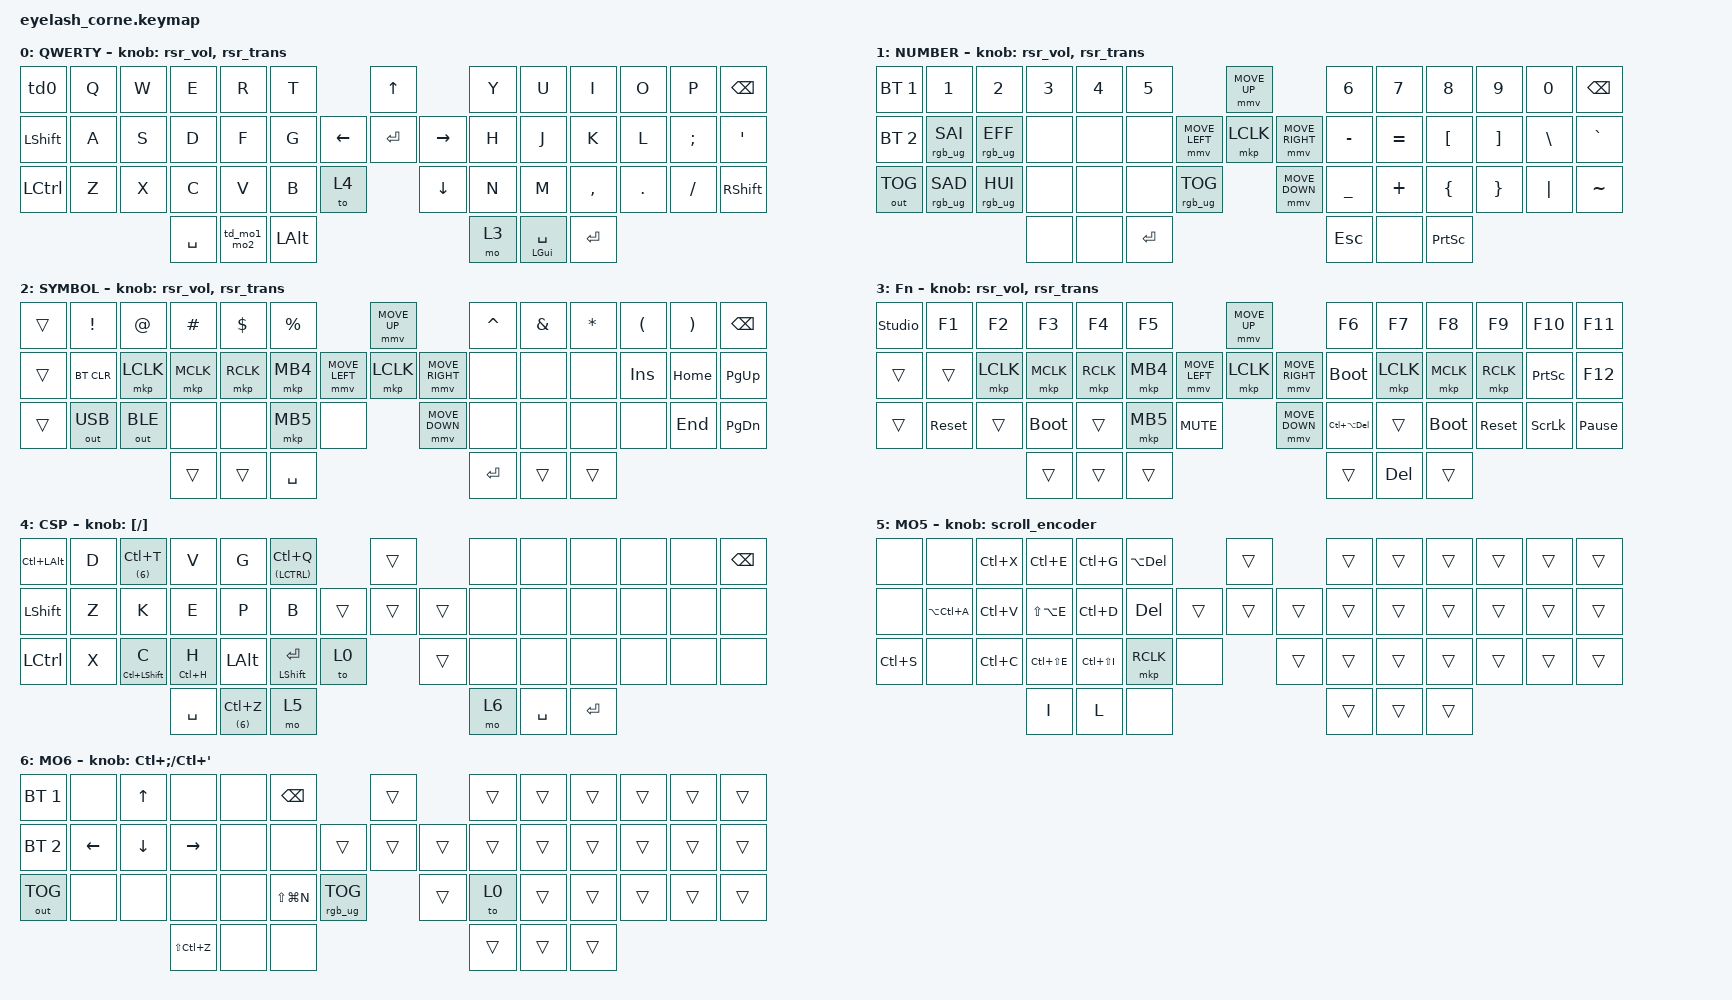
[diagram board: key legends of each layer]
#define ZMK_POINTING_DEFAULT_MOVE_VAL 1200  // 600
#define ZMK_POINTING_DEFAULT_SCRL_VAL 25   // 10

#include <input/processors.dtsi>
#include <zephyr/dt-bindings/input/input-event-codes.h>
#include <behaviors/runtime-sensor-rotate.dtsi>
#include <behaviors.dtsi>
#include <dt-bindings/zmk/bt.h>
#include <dt-bindings/zmk/keys.h>
#include <dt-bindings/zmk/outputs.h>
#include <dt-bindings/zmk/pointing.h>
#include <dt-bindings/zmk/rgb.h>

&mmv_input_listener { input-processors = <&zip_xy_scaler 2 1>; };

&msc_input_listener { input-processors = <&zip_scroll_scaler 2 1>; };

&msc {
    acceleration-exponent = <1>;      // 0
    time-to-max-speed-ms = <100>;       // 300
    delay-ms = <0>;                   // 0
};

&mmv {
    time-to-max-speed-ms = <500>;
    acceleration-exponent = <1>;
    trigger-period-ms = <16>;
};

&soft_off { hold-time-ms = <2000>; };

/ {
    behaviors {
        td0: td0 {
            compatible = "zmk,behavior-tap-dance";
            display-name = "Shift/Caps Lock Tap Dance";
            #binding-cells = <0>;
            bindings = <&kp TAB>, <&kp CAPS>;

            tapping-term-ms = <240>;
        };

        rsr_trans: rsr_trans {
            compatible = "zmk,behavior-runtime-sensor-rotate";
            #sensor-binding-cells = <0>;
            tap-ms = <0>;
        };

        rsr_vol: rsr_vol {
            compatible = "zmk,behavior-runtime-sensor-rotate";
            #sensor-binding-cells = <0>;
            tap-ms = <5>;
            cw-binding = <&kp C_VOL_UP>;
            ccw-binding = <&kp C_VOL_DN>;
        };

        myholdtime: myholdtime {
            compatible = "zmk,behavior-hold-tap";
            label = "MYHOLDTIME";
            bindings = <&kp>, <&kp>;

            #binding-cells = <2>;
            tapping-term-ms = <150>;
        };

        td_semicolon: td_semicolon {
            compatible = "zmk,behavior-tap-dance";
            label = "TD_SEMICOLON";
            #binding-cells = <0>;
            bindings = <&kp SEMICOLON>, <&kp COLON>;
        };

        td_quote: td_quote {
            compatible = "zmk,behavior-tap-dance";
            label = "TD_QUOTE";
            #binding-cells = <0>;
            bindings = <&kp SINGLE_QUOTE>, <&kp DOUBLE_QUOTES>;
        };

        td_comma: td_comma {
            compatible = "zmk,behavior-tap-dance";
            label = "TD_COMMA";
            #binding-cells = <0>;
            bindings = <&kp COMMA>, <&kp LESS_THAN>;
        };

        td_period: td_period {
            compatible = "zmk,behavior-tap-dance";
            label = "TD_PERIOD";
            #binding-cells = <0>;
            bindings = <&kp PERIOD>, <&kp GREATER_THAN>;
        };

        td_slash: td_slash {
            compatible = "zmk,behavior-tap-dance";
            label = "TD_SLASH";
            #binding-cells = <0>;
            bindings = <&kp SLASH>, <&kp QUESTION>;
        };

        td_mo2tocsp: td_mo2tocsp {
            compatible = "zmk,behavior-tap-dance";
            label = "TD_MO2TOCSP";
            #binding-cells = <0>;
            bindings = <&mo 2>, <&to 4>;
        };

        td_mo5to0: td_mo5to0 {
            compatible = "zmk,behavior-tap-dance";
            label = "TD_MO5TO0";
            #binding-cells = <0>;
            bindings = <&mo 5>, <&to 0>;
        };

        td_mo1_mo2: td_mo1_mo2 {
            compatible = "zmk,behavior-tap-dance";
            label = "TD_MO1_MO2";
            #binding-cells = <0>;
            tapping-term-ms = <300>;
            bindings = <&mo 1>, <&mo 2>;
        };
    };

    rgb_encoder: rgb_encoder {
        compatible = "zmk,behavior-sensor-rotate";
        #sensor-binding-cells = <0>;
        bindings = <&rgb_ug RGB_BRI>, <&rgb_ug RGB_BRD>;
    };

    scroll_encoder: scroll_encoder {
        compatible = "zmk,behavior-sensor-rotate";
        #sensor-binding-cells = <0>;
        bindings = <&msc SCRL_DOWN>, <&msc SCRL_UP>;

        tap-ms = <100>;
    };

    combos {
        compatible = "zmk,combos";

        softoff {
            bindings = <&soft_off>;
            key-positions = <1 15 29>;
        };

        tog_swiCSP {
            bindings = <&tog 4>;
            key-positions = <43 44>;
        };

        tog_swiCSP2 {
            bindings = <&tog 4>;
            key-positions = <45 46>;
        };

        swi-shurufa {
            bindings = <&kp LC(SPACE)>;
            key-positions = <42 43>;
        };

        caps {
            bindings = <&kp CAPSLOCK>;
            key-positions = <46 47>;
        };
    };

    keymap {
        compatible = "zmk,keymap";

        MO0 {
            display-name = "QWERTY";
            bindings = <
&td0            &kp Q  &kp W  &kp E      &kp R        &kp T                            &kp UP                &kp Y  &kp U                       &kp I      &kp O       &kp P          &kp BSPC
&kp LEFT_SHIFT  &kp A  &kp S  &kp D      &kp F        &kp G                  &kp LEFT  &kp ENTER  &kp RIGHT  &kp H  &kp J                       &kp K      &kp L       &kp SEMICOLON  &kp APOSTROPHE
&kp LCTRL       &kp Z  &kp X  &kp C      &kp V        &kp B         &to 4              &kp DOWN              &kp N  &kp M                       &kp COMMA  &kp PERIOD  &kp SLASH      &kp RSHFT
                              &kp SPACE  &td_mo1_mo2  &kp LEFT_ALT                                           &mo 3  &myholdtime LEFT_GUI SPACE  &kp ENTER
            >;

            sensor-bindings = <&rsr_vol &rsr_trans>;
        };

        MO1 {
            display-name = "NUMBER";
            bindings = <
&bt BT_SEL 1  &kp N1           &kp N2           &kp N3  &kp N4  &kp N5                                        &mmv MOVE_UP                     &kp N6          &kp N7     &kp N8            &kp N9             &kp N0         &kp BSPC
&bt BT_SEL 2  &rgb_ug RGB_SAI  &rgb_ug RGB_EFF  &none   &none   &none                         &mmv MOVE_LEFT  &mkp LCLK       &mmv MOVE_RIGHT  &kp MINUS       &kp EQUAL  &kp LEFT_BRACKET  &kp RIGHT_BRACKET  &kp BACKSLASH  &kp GRAVE
&out OUT_TOG  &rgb_ug RGB_SAD  &rgb_ug RGB_HUI  &none   &none   &none      &rgb_ug RGB_TOG                    &mmv MOVE_DOWN                   &kp UNDERSCORE  &kp PLUS   &kp LEFT_BRACE    &kp RBRC           &kp PIPE       &kp TILDE
                                                &none   &none   &kp ENTER                                                                      &kp ESC         &none      &kp PRINTSCREEN
            >;

            sensor-bindings = <&rsr_vol &rsr_trans>;
        };

        MO2 {
            display-name = "SYMBOL";
            bindings = <
&trans  &kp EXCL      &kp AT        &kp HASH   &kp DLLR   &kp PRCNT                           &mmv MOVE_UP                     &kp CARET  &kp AMPS  &kp ASTRK  &kp LPAR  &kp RPAR  &kp BSPC
&trans  &bt BT_CLR    &mkp LCLK     &mkp MCLK  &mkp RCLK  &mkp MB4            &mmv MOVE_LEFT  &mkp LCLK       &mmv MOVE_RIGHT  &none      &none     &none      &kp INS   &kp HOME  &kp PG_UP
&trans  &out OUT_USB  &out OUT_BLE  &none      &none      &mkp MB5   &none                    &mmv MOVE_DOWN                   &none      &none     &none      &none     &kp END   &kp PG_DN
                                    &trans     &trans     &kp SPACE                                                            &kp RET    &trans    &trans
            >;

            sensor-bindings = <&rsr_vol &rsr_trans>;
        };

        MO3 {
            display-name = "Fn";
            bindings = <
&studio_unlock  &kp F1      &kp F2     &kp F3       &kp F4     &kp F5                                  &mmv MOVE_UP                     &kp F6              &kp F7     &kp F8       &kp F9      &kp F10          &kp F11
&trans          &trans      &mkp LCLK  &mkp MCLK    &mkp RCLK  &mkp MB4                &mmv MOVE_LEFT  &mkp LCLK       &mmv MOVE_RIGHT  &bootloader         &mkp LCLK  &mkp MCLK    &mkp RCLK   &kp PRINTSCREEN  &kp F12
&trans          &sys_reset  &trans     &bootloader  &trans     &mkp MB5  &kp C_MUTE                    &mmv MOVE_DOWN                   &kp LC(LA(DELETE))  &trans     &bootloader  &sys_reset  &kp SCROLLLOCK   &kp PAUSE_BREAK
                                       &trans       &trans     &trans                                                                   &trans              &kp DEL    &trans
            >;

            sensor-bindings = <&rsr_vol &rsr_trans>;
        };

        MO4 {
            bindings = <
&kp LC(LEFT_ALT)  &kp D  &lt (6) LC(T)            &kp V        &kp G          &mt (LCTRL) LC(Q)                      &trans          &none  &none      &none      &none  &none  &kp BACKSPACE
&kp LSHFT         &kp Z  &kp K                    &kp E        &kp P          &kp B                          &trans  &trans  &trans  &none  &none      &none      &none  &none  &none
&kp LCTRL         &kp X  &myholdtime LC(LSHFT) C  &mt LC(H) H  &kp LEFT_ALT   &mt LEFT_SHIFT ENTER  &to 0            &trans          &none  &none      &none      &none  &none  &none
                                                  &kp SPACE    &lt (6) LC(Z)  &mo 5                                                  &mo 6  &kp SPACE  &kp ENTER
            >;

            sensor-bindings = <&inc_dec_kp LEFT_BRACKET RIGHT_BRACKET>;
            label = "CSP";
        };

        layer_5 {
            bindings = <
&none      &none          &kp LC(X)  &kp LC(E)      &kp LC(G)      &kp LA(DEL)                   &trans          &trans  &trans  &trans  &trans  &trans  &trans
&none      &kp LA(LC(A))  &kp LC(V)  &kp LS(LA(E))  &kp LC(D)      &kp DEL               &trans  &trans  &trans  &trans  &trans  &trans  &trans  &trans  &trans
&kp LC(S)  &none          &kp LC(C)  &kp LC(LS(E))  &kp LC(LS(I))  &mkp RCLK    &none            &trans          &trans  &trans  &trans  &trans  &trans  &trans
                                     &kp I          &kp L          &none                                         &trans  &trans  &trans
            >;

            sensor-bindings = <&scroll_encoder>;
            label = "MO5";
        };

        MO6 {
            bindings = <
&bt BT_SEL 1  &none     &kp UP    &none          &none  &kp BACKSPACE                             &trans          &trans  &trans  &trans  &trans  &trans  &trans
&bt BT_SEL 2  &kp LEFT  &kp DOWN  &kp RIGHT      &none  &none                             &trans  &trans  &trans  &trans  &trans  &trans  &trans  &trans  &trans
&out OUT_TOG  &none     &none     &none          &none  &kp LS(LG(N))  &rgb_ug RGB_TOG            &trans          &to 0   &trans  &trans  &trans  &trans  &trans
                                  &kp LS(LC(Z))  &none  &none                                                     &trans  &trans  &trans
            >;

            sensor-bindings = <&inc_dec_kp LC(SEMI) LC(SINGLE_QUOTE)>;
            label = "MO6";
        };
    };
};
